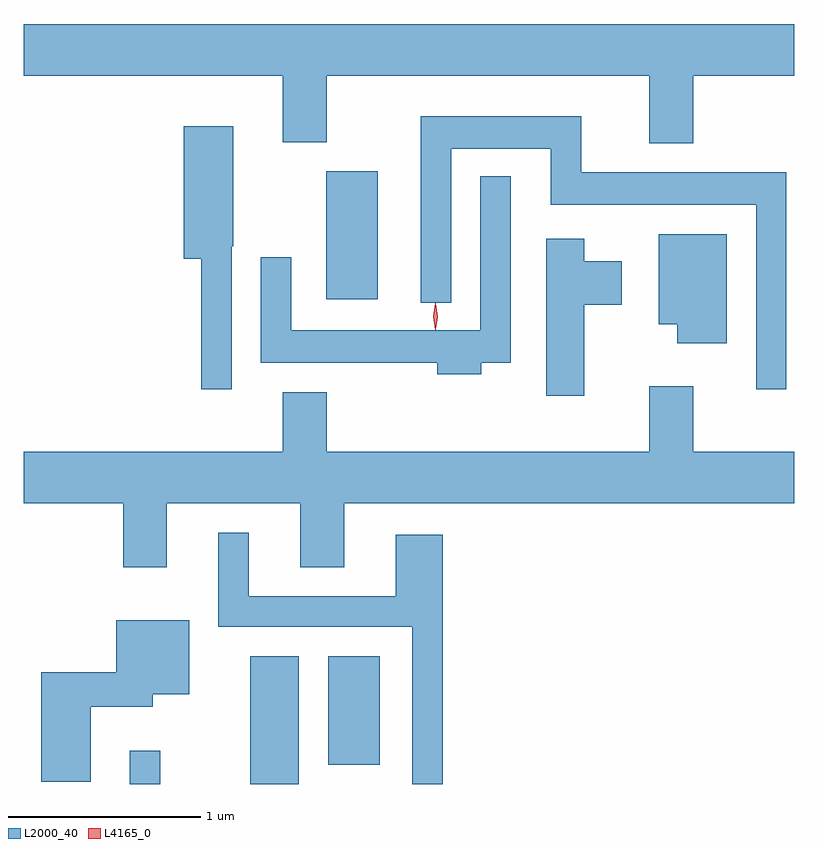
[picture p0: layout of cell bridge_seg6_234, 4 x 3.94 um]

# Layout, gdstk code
import gdstk
lib = gdstk.Library(unit=1e-6, precision=1e-09)
def R(c, l, rs):  # rectangles x0, y0, x1, y1
    for r in rs: c.add(gdstk.rectangle(r[:2], r[2:], *l))
def P(c, l, *ps):  # polygons
    for p in ps: c.add(gdstk.Polygon(p, *l))
L2000_40 = (2000, 40)
L4165_0 = (4165, 0)

bridge_seg6_234 = lib.new_cell('bridge_seg6_234')
R(bridge_seg6_234, L2000_40, [(1137.396,1546.36,1137.554,1546.533), (1138.021,1546.36,1138.274,1547.024), (1138.426,1546.461,1138.694,1547.024), (1138.416,1548.876,1138.684,1549.539)])
P(bridge_seg6_234, L2000_40, [(1140.319,1550.036),(1140.845,1550.036),(1140.845,1550.304),(1136.845,1550.304),(1136.845,1550.036),(1138.191,1550.036),(1138.191,1549.691),(1138.419,1549.691),(1138.419,1550.036),(1140.091,1550.036),(1140.091,1549.686),(1140.319,1549.686)],
  [(1140.804,1549.534),(1139.739,1549.534),(1139.739,1549.824),(1138.906,1549.824),(1138.906,1548.858),(1139.064,1548.858),(1139.064,1549.656),(1139.581,1549.656),(1139.581,1549.366),(1140.646,1549.366),(1140.646,1548.408),(1140.804,1548.408)],
  [(1137.924,1549.15),(1137.934,1549.15),(1137.934,1549.774),(1137.676,1549.774),(1137.676,1549.086),(1137.766,1549.086),(1137.766,1548.408),(1137.924,1548.408)],
  [(1139.219,1548.546),(1139.374,1548.546),(1139.374,1549.513),(1139.216,1549.513),(1139.216,1548.714),(1138.234,1548.714),(1138.234,1549.093),(1138.076,1549.093),(1138.076,1548.546),(1138.991,1548.546),(1138.991,1548.486),(1139.219,1548.486)],
  [(1140.494,1549.214),(1140.141,1549.214),(1140.141,1548.746),(1140.236,1548.746),(1140.236,1548.646),(1140.494,1548.646)],
  [(1139.754,1548.846),(1139.949,1548.846),(1139.949,1549.074),(1139.754,1549.074),(1139.754,1549.189),(1139.556,1549.189),(1139.556,1548.376),(1139.754,1548.376)],
  [(1140.091,1548.424),(1140.091,1548.084),(1138.419,1548.084),(1138.419,1548.394),(1138.191,1548.394),(1138.191,1548.084),(1136.845,1548.084),(1136.845,1547.816),(1137.361,1547.816),(1137.361,1547.486),(1137.589,1547.486),(1137.589,1547.816),(1138.281,1547.816),(1138.281,1547.486),(1138.509,1547.486),(1138.509,1547.816),(1140.845,1547.816),(1140.845,1548.084),(1140.319,1548.084),(1140.319,1548.424)],
  [(1139.019,1547.654),(1138.776,1547.654),(1138.776,1547.334),(1138.014,1547.334),(1138.014,1547.663),(1137.856,1547.663),(1137.856,1547.176),(1138.861,1547.176),(1138.861,1546.36),(1139.019,1546.36)],
  [(1137.194,1546.761),(1137.514,1546.761),(1137.514,1546.826),(1137.704,1546.826),(1137.704,1547.209),(1137.326,1547.209),(1137.326,1546.939),(1136.936,1546.939),(1136.936,1546.371),(1137.194,1546.371)])
P(bridge_seg6_234, L4165_0, [(1138.985,1548.719),(1138.984,1548.72),(1138.975,1548.786),(1138.984,1548.852),(1138.985,1548.853),(1138.985,1548.852),(1138.995,1548.786),(1138.985,1548.72)],
  [(1138.982,1548.717),(1138.982,1548.717),(1138.972,1548.787),(1138.982,1548.856),(1138.982,1548.856),(1138.983,1548.856),(1138.992,1548.787),(1138.983,1548.717)])

lib.write_gds('bridge_seg6_234.gds')
